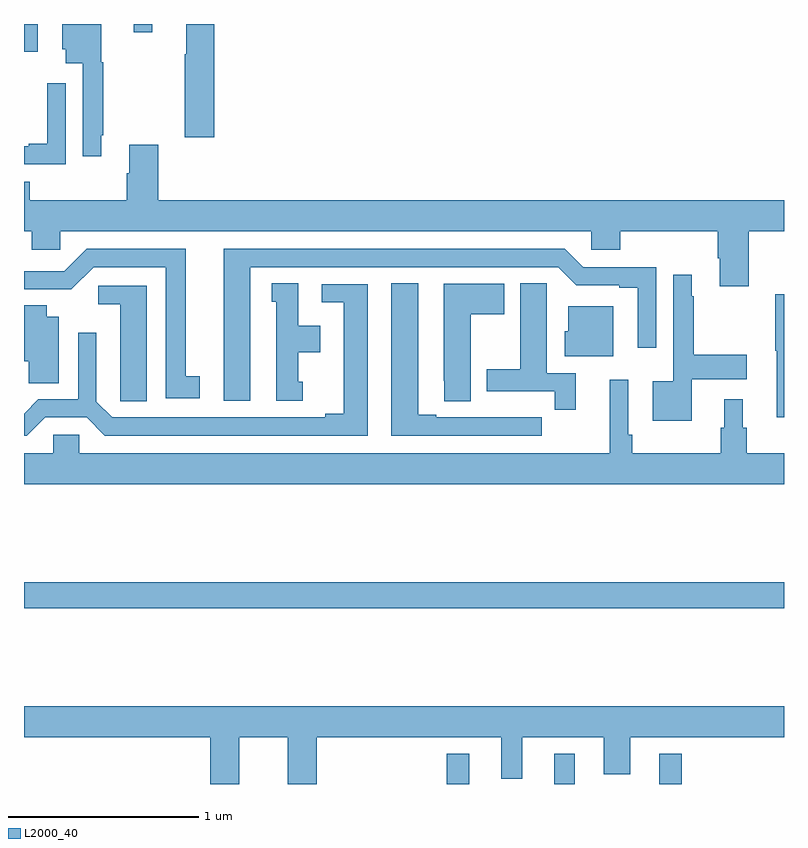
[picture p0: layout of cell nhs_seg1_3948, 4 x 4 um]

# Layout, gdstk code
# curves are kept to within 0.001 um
import gdstk
lib = gdstk.Library(unit=1e-6, precision=1e-09)
def R(c, l, rs):  # rectangles x0, y0, x1, y1
    for r in rs: c.add(gdstk.rectangle(r[:2], r[2:], *l))
def P(c, l, *ps):  # polygons
    for p in ps: c.add(gdstk.Polygon(p, *l))
L2000_40 = (2000, 40)

nhs_seg1_3948 = lib.new_cell('nhs_seg1_3948')
R(nhs_seg1_3948, L2000_40, [(329.226,506.199,329.344,506.359), (329.792,506.199,329.899,506.359), (330.344,506.199,330.461,506.359), (327,507.124,331,507.26), (327,510.054,327.072,510.199), (327.578,510.156,327.676,510.199)])
P(nhs_seg1_3948, L2000_40, [(328.001,510.199),(327.854,510.199),(327.854,510.04),(327.847,510.04),(327.847,509.604),(328.001,509.604)],
  [(327.406,509.614),(327.418,509.614),(327.418,509.997),(327.406,509.997),(327.406,510.199),(327.2,510.199),(327.2,510.066),(327.221,510.066),(327.221,509.993),(327.309,509.993),(327.309,509.502),(327.406,509.502)],
  [(327.219,509.887),(327.122,509.887),(327.122,509.569),(327.026,509.569),(327.026,509.556),(327,509.556),(327,509.46),(327.219,509.46)],
  [(330.815,509.108),(331,509.108),(331,509.272),(327.707,509.272),(327.707,509.563),(327.554,509.563),(327.554,509.414),(327.542,509.414),(327.542,509.272),(327.029,509.272),(327.029,509.37),(327,509.37),(327,509.108),(327.041,509.108),(327.041,509.01),(327.192,509.01),(327.192,509.108),(329.985,509.108),(329.985,509.01),(330.137,509.01),(330.137,509.108),(330.65,509.108),(330.65,508.966),(330.662,508.966),(330.662,508.818),(330.815,508.818)],
  [(327.925,508.346),(327.85,508.346),(327.85,509.016),(327.33,509.016),(327.213,508.899),(327,508.899),(327,508.803),(327.248,508.802),(327.366,508.92),(327.746,508.92),(327.746,508.23),(327.925,508.23)],
  [(328.192,508.92),(329.811,508.92),(329.907,508.824),(330.134,508.824),(330.134,508.812),(330.23,508.812),(330.23,508.494),(330.327,508.494),(330.327,508.92),(329.943,508.92),(329.847,509.016),(328.052,509.016),(328.052,508.215),(328.192,508.215)],
  [(330.514,508.328),(330.805,508.328),(330.805,508.458),(330.526,508.458),(330.526,508.766),(330.514,508.766),(330.514,508.879),(330.417,508.879),(330.417,508.318),(330.308,508.318),(330.308,508.112),(330.514,508.112)],
  [(328.468,508.317),(328.444,508.317),(328.444,508.472),(328.558,508.472),(328.558,508.612),(328.444,508.612),(328.444,508.835),(328.304,508.835),(328.304,508.737),(328.328,508.737),(328.328,508.215),(328.468,508.215)],
  [(329.903,508.362),(329.752,508.362),(329.752,508.724),(329.751,508.724),(329.751,508.835),(329.612,508.835),(329.612,508.383),(329.435,508.383),(329.435,508.266),(329.794,508.266),(329.794,508.17),(329.903,508.17)],
  [(329.725,508.128),(329.612,508.128),(329.612,508.129),(329.446,508.129),(329.446,508.128),(329.17,508.128),(329.17,508.143),(329.074,508.143),(329.074,508.835),(328.934,508.835),(328.934,508.032),(329.725,508.032)],
  [(329.35,508.672),(329.527,508.672),(329.527,508.831),(329.21,508.831),(329.21,508.321),(329.211,508.321),(329.211,508.213),(329.35,508.213)],
  [(327.111,508.128),(327.329,508.128),(327.425,508.032),(328.81,508.032),(328.81,508.83),(328.566,508.83),(328.566,508.734),(328.682,508.734),(328.682,508.148),(328.586,508.148),(328.586,508.128),(327.465,508.128),(327.381,508.212),(327.381,508.573),(327.285,508.573),(327.285,508.224),(327.075,508.224),(327,508.149),(327,508.032),(327.015,508.032)],
  [(327.646,508.821),(327.39,508.821),(327.39,508.724),(327.506,508.724),(327.506,508.321),(327.507,508.321),(327.507,508.213),(327.646,508.213)],
  [(331,508.777),(330.955,508.777),(330.955,508.479),(330.962,508.479),(330.962,508.128),(331,508.128)],
  [(327.184,508.657),(327.121,508.657),(327.121,508.718),(327,508.718),(327,508.424),(327.026,508.424),(327.026,508.309),(327.184,508.309)],
  [(330.1,508.714),(329.864,508.714),(329.864,508.581),(329.846,508.581),(329.846,508.451),(330.1,508.451)],
  [(331,507.94),(330.803,507.94),(330.803,508.074),(330.784,508.074),(330.784,508.225),(330.686,508.225),(330.686,508.074),(330.667,508.074),(330.667,507.94),(330.2,507.94),(330.2,508.036),(330.18,508.036),(330.18,508.327),(330.083,508.327),(330.083,507.94),(327.291,507.94),(327.291,508.038),(327.153,508.038),(327.153,507.94),(327,507.94),(327,507.776),(331,507.776)],
  [(328.132,506.444),(328.388,506.444),(328.388,506.199),(328.541,506.199),(328.541,506.444),(329.513,506.444),(329.513,506.226),(329.623,506.226),(329.623,506.444),(330.05,506.444),(330.05,506.25),(330.19,506.25),(330.19,506.444),(331,506.444),(331,506.608),(327,506.608),(327,506.444),(327.98,506.444),(327.98,506.199),(328.132,506.199)])

lib.write_gds('nhs_seg1_3948.gds')
